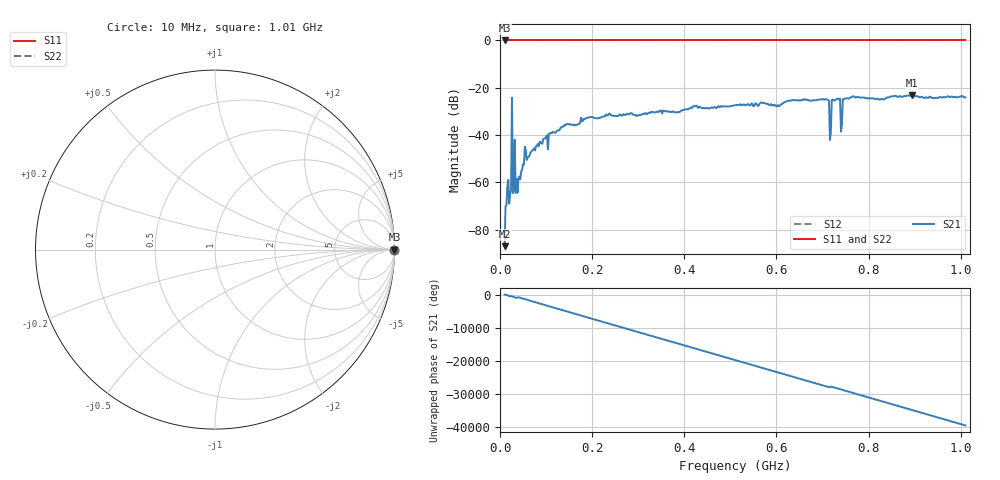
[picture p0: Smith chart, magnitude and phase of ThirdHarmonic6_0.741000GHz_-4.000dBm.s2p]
! 8/16/2025 12:47:27 AM
! C:\ANRITSUVNA\TEMP\TEMP.S2P
! CHANNEL.1
! TR.MEASUREMENT
! RAW.DATA
! RF.CORRECTION.OFF
! AVERAGING.OFF
! IF.BANDWIDTH: 5KHZ
! SWEEPTYPE:  FREQ.SWEEP(Linear)
! Reference Plane Port Info
! PORT:  PORT1  PORT2
! DISTANCE:  0  m  0  m
! TIME:  0  s  0  s
! PHASE.OFFSET:  0  deg.  0  deg.
! LOSS:  0  dB  0  dB
! REF.LOSS:  0  dB  0  dB
! REF.FREQ:  0  Hz  0  Hz
! Power Info
! POWER:  -20  dBm  -20  dBm
! EFF.POWER:  -20  dBm  -20  dBm
! SOURCE.ATTEN:  0  dB  0  dB
! TEST.ATTEN:  0  dB  0  dB
# GHZ S RI R 50.0
! FREQ.GHZ  S11RE  S11IM  S21RE  S21IM  S12RE  S12IM  S22RE  S22IM
!; PortSelection: Port_12
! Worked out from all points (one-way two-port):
!   501 points, 10 MHz to 1.01 GHz, reference 50 ohm
!   highest |S21| = -23.14 dB at 894 MHz (marker M1); lowest = -87.0 dB at 10 MHz (marker M2)
!   lowest |S11| = 0.0 dB at 10 MHz (marker M3)
!   |S11| at or under -10 dB: nowhere
!   |S22| runs from 0.0 to 0.0 dB; largest |S21 - S12| = 1.1
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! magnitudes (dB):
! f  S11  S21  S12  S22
! 10 MHz  0.0  -87.0  0.0  0.0
! 20 MHz  0.0  -69.0  0.0  0.0
! 22 MHz  0.0  -64.9  0.0  0.0
! 26 MHz  0.0  -24.2  0.0  0.0
! 28 MHz  0.0  -64.6  0.0  0.0
! 30 MHz  0.0  -62.6  0.0  0.0
! 32 MHz  0.0  -42.0  0.0  0.0
! 38 MHz  0.0  -64.4  0.0  0.0
! 58 MHz  0.0  -50.6  0.0  0.0
! 178 MHz  0.0  -34.2  0.0  0.0
! 344 MHz  0.0  -30.3  0.0  0.0
! 510 MHz  0.0  -27.5  0.0  0.0
! 678 MHz  0.0  -25.4  0.0  0.0
! 710 MHz  0.0  -24.9  0.0  0.0
! 716 MHz  0.0  -42.1  0.0  0.0
! 720 MHz  0.0  -25.2  0.0  0.0
! 724 MHz  0.0  -25.4  0.0  0.0
! 744 MHz  0.0  -24.8  0.0  0.0
! 748 MHz  0.0  -24.6  0.0  0.0
! 844 MHz  0.0  -24.1  0.0  0.0
! 894 MHz  0.0  -23.1  0.0  0.0
! 1.01 GHz  0.0  -24.1  0.0  0.0
